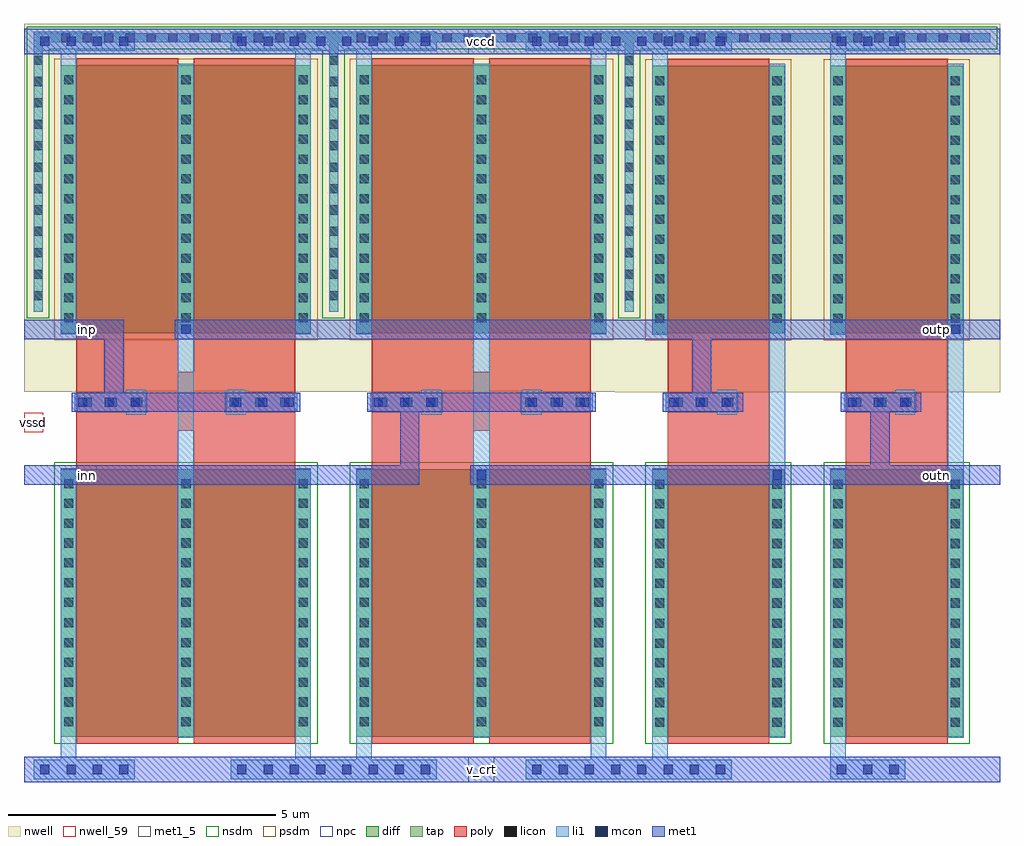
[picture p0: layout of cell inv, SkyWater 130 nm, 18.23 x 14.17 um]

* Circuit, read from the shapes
.subckt inv inn inp outn outp v_crt vccd vssd
XM1 outp inp v_crt vssd sky130_fd_pr__nfet_01v8 w=5 l=1.9 m=2
XM2 outn inn v_crt vssd sky130_fd_pr__nfet_01v8 w=5 l=1.9 m=2
XM3 outn outp v_crt vssd sky130_fd_pr__nfet_01v8 w=5 l=1.9
XM4 outp outn v_crt vssd sky130_fd_pr__nfet_01v8 w=5 l=1.9
XM5 outp inp vccd vccd sky130_fd_pr__pfet_01v8 w=5 l=1.9 m=2
XM6 outn inn vccd vccd sky130_fd_pr__pfet_01v8 w=5 l=1.9 m=2
XM7 outn outp vccd vccd sky130_fd_pr__pfet_01v8 w=5 l=1.9
XM8 outp outn vccd vccd sky130_fd_pr__pfet_01v8 w=5 l=1.9
.ends

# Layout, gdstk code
import gdstk
lib = gdstk.Library(unit=1e-6, precision=1e-09)
def R(c, l, rs):  # rectangles x0, y0, x1, y1
    for r in rs: c.add(gdstk.rectangle(r[:2], r[2:], *l))
def A(c, l, x, y, w, h, nx, ny, dx, dy):  # array of equal rectangles
    R(c, l, [(x+i*dx, y+j*dy, x+i*dx+w, y+j*dy+h) for i in range(nx) for j in range(ny)])
nwell = (64, 20)
nwell_59 = (64, 59)
diff = (65, 20)
tap = (65, 44)
poly = (66, 20)
licon = (66, 44)
li1 = (67, 20)
mcon = (67, 44)
met1_5 = (68, 5)
met1 = (68, 20)
nsdm = (93, 44)
psdm = (94, 20)
npc = (95, 20)

pfet_34 = lib.new_cell('pfet_34')
R(pfet_34, nwell, [(0,-0.01,3.86,6.87)])
R(pfet_34, diff, [(0.69,1.085,3.17,6.085)])
R(pfet_34, tap, [(0.18,6.52,3.68,6.69)])
R(pfet_34, poly, [(0.98,0.6,2.88,6.215)])
A(pfet_34, licon, 0.75, 1.28, 0.17, 0.17, 1, 13, 0, 0.37)
A(pfet_34, licon, 2.94, 1.28, 0.17, 0.17, 1, 13, 0, 0.37)
A(pfet_34, licon, 0.715, 6.52, 0.17, 0.17, 7, 1, 0.4, 0)
R(pfet_34, li1, [(0.69,1.06,0.98,6.52), (2.94,1.065,3.11,6.105), (0.18,6.52,3.68,6.69)])
R(pfet_34, nsdm, [(0.055,6.395,3.805,6.815)])
R(pfet_34, psdm, [(0.565,0.96,3.295,6.21)])

pfet_12 = lib.new_cell('pfet_12')
R(pfet_12, nwell, [(-0.98,-1.1,5.07,5.775)])
R(pfet_12, diff, [(-0.29,-0.005,4.38,4.995)])
R(pfet_12, tap, [(-0.8,0.395,-0.63,5.425), (4.72,0.395,4.89,5.425), (-0.8,5.425,4.89,5.595)])
R(pfet_12, poly, [(0,-0.49,1.9,5.125), (2.19,-0.49,4.09,5.125)])
A(pfet_12, licon, -0.23, 0.2, 0.17, 0.17, 3, 13, 2.19, 0.37)
A(pfet_12, licon, -0.8, 0.61, 0.17, 0.17, 1, 12, 0, 0.4)
A(pfet_12, licon, 4.72, 0.61, 0.17, 0.17, 1, 12, 0, 0.4)
A(pfet_12, licon, -0.285, 5.425, 0.17, 0.17, 12, 1, 0.4, 0)
R(pfet_12, li1, [(-0.29,-0.025,0,5.425), (1.96,-0.025,2.13,5.015), (4.09,-0.025,4.38,5.425), (-0.8,0.395,-0.63,5.425), (4.72,0.395,4.89,5.425), (-0.8,5.425,4.89,5.595)])
R(pfet_12, nsdm, [(-0.925,0.27,-0.505,5.3), (4.595,0.27,5.015,5.3), (-0.925,5.3,5.015,5.72)])
R(pfet_12, psdm, [(-0.415,-0.13,4.505,5.12)])

nfet_34 = lib.new_cell('nfet_34')
R(nfet_34, diff, [(-0.29,0,2.19,5)])
R(nfet_34, poly, [(0,-0.13,1.9,5.44)])
A(nfet_34, licon, -0.23, 0.185, 0.17, 0.17, 1, 6, 0, 0.37)
A(nfet_34, licon, 1.96, 0.185, 0.17, 0.17, 1, 6, 0, 0.37)
A(nfet_34, licon, -0.23, 2.415, 0.17, 0.17, 1, 7, 0, 0.37)
A(nfet_34, licon, 1.96, 2.415, 0.17, 0.17, 1, 7, 0, 0.37)
R(nfet_34, li1, [(-0.23,-0.02,-0.06,5.02), (1.96,-0.02,2.13,5.02)])
R(nfet_34, nsdm, [(-0.415,-0.125,2.315,5.125)])

nfet_12 = lib.new_cell('nfet_12')
R(nfet_12, diff, [(0,0,4.67,5)])
R(nfet_12, poly, [(0.29,-0.13,2.19,5.44), (2.48,-0.13,4.38,5.44)])
A(nfet_12, licon, 0.06, 0.195, 0.17, 0.17, 3, 6, 2.19, 0.37)
A(nfet_12, licon, 0.06, 2.425, 0.17, 0.17, 3, 7, 2.19, 0.37)
A(nfet_12, li1, 0.05, -0.02, 0.19, 5.04, 3, 1, 2.19, 0)
R(nfet_12, nsdm, [(-0.125,-0.125,4.795,5.125)])

inv = lib.new_cell('inv')
R(inv, nwell_59, [(-2,16.54,-1.64,16.9)])
R(inv, poly, [(-1.02,16.23,0.88,16.57), (1.17,16.23,3.07,16.57), (4.5,16.23,6.4,16.57), (6.69,16.23,8.59,16.57), (10.02,16.29,11.92,17.91), (13.35,16.29,15.25,17.91), (-1.02,16.57,3.07,17.67), (4.5,16.57,8.59,17.67), (-1.02,17.67,0.88,18), (1.17,17.67,3.07,18), (4.5,17.67,6.4,18), (6.69,17.67,8.59,18)])
A(inv, licon, -0.905, 17.015, 0.17, 0.17, 3, 1, 0.47, 0)
A(inv, licon, 1.845, 17.015, 0.17, 0.17, 3, 1, 0.47, 0)
A(inv, licon, 4.615, 17.015, 0.17, 0.17, 3, 1, 0.47, 0)
A(inv, licon, 7.365, 17.015, 0.17, 0.17, 3, 1, 0.47, 0)
A(inv, licon, 10.135, 17.015, 0.17, 0.17, 3, 1, 0.47, 0)
A(inv, licon, 13.465, 17.015, 0.17, 0.17, 3, 1, 0.47, 0)
R(inv, li1, [(-1.82,10.06,0.07,10.42), (1.86,10.06,5.71,10.42), (7.37,10.06,11.22,10.42), (13.06,10.06,14.46,10.42), (-1.31,10.42,-1.02,15.87), (3.07,10.42,3.36,15.87), (4.21,10.42,4.5,15.87), (8.59,10.42,8.88,15.87), (9.73,10.42,10.02,15.87), (13.06,10.42,13.35,15.87), (0.875,10.83,1.175,23.42), (6.395,10.83,6.695,23.42), (11.92,10.83,12.22,23.42), (15.25,10.83,15.55,23.42), (-0.1,16.87,0.28,16.92), (1.77,16.87,2.15,16.92), (5.42,16.87,5.8,16.92), (7.29,16.87,7.67,16.92), (10.94,16.87,11.32,16.92), (14.27,16.87,14.65,16.92), (-1.05,16.92,0.28,17.28), (1.77,16.92,3.1,17.28), (4.47,16.92,5.8,17.28), (7.29,16.92,8.62,17.28), (9.99,16.92,11.32,17.28), (13.32,16.92,14.65,17.28), (-0.1,17.28,0.28,17.33), (1.77,17.28,2.15,17.33), (5.42,17.28,5.8,17.33), (7.29,17.28,7.67,17.33), (10.94,17.28,11.32,17.33), (14.27,17.28,14.65,17.33), (-1.82,23.66,0.07,24.02), (1.86,23.66,5.71,24.02), (7.37,23.66,11.22,24.02), (13.06,23.66,14.46,24.02)])
A(inv, mcon, -1.695, 10.155, 0.17, 0.17, 4, 2, 0.49, 13.6)
A(inv, mcon, 1.985, 10.155, 0.17, 0.17, 8, 2, 0.49, 13.6)
A(inv, mcon, 7.495, 10.155, 0.17, 0.17, 8, 2, 0.49, 13.6)
A(inv, mcon, 13.185, 10.155, 0.17, 0.17, 3, 2, 0.49, 13.6)
A(inv, mcon, -0.985, 17.015, 0.17, 0.17, 3, 1, 0.49, 0)
A(inv, mcon, 1.885, 17.015, 0.17, 0.17, 3, 1, 0.49, 0)
A(inv, mcon, 4.535, 17.015, 0.17, 0.17, 3, 1, 0.49, 0)
A(inv, mcon, 7.405, 17.015, 0.17, 0.17, 3, 1, 0.49, 0)
A(inv, mcon, 10.055, 17.015, 0.17, 0.17, 3, 1, 0.49, 0)
A(inv, mcon, 13.385, 17.015, 0.17, 0.17, 3, 1, 0.49, 0)
R(inv, mcon, [(6.46,15.655,6.63,15.825), (11.985,15.655,12.155,15.825), (0.94,18.375,1.11,18.545), (15.315,18.375,15.485,18.545)])
R(inv, met1_5, [(6.3,10,6.78,10.48), (-1,15.56,-0.64,15.92), (14.87,15.56,15.23,15.92), (-1,18.28,-0.64,18.64), (14.87,18.28,15.23,18.64), (6.3,23.6,6.78,24.08)])
R(inv, met1, [(-2,10,16.23,10.48), (-2,15.56,5.385,15.92), (6.335,15.56,16.23,15.92), (5.025,15.92,5.385,16.92), (13.81,15.92,14.17,16.92), (-1.11,16.92,3.16,17.28), (4.41,16.92,8.68,17.28), (9.93,16.92,11.43,17.28), (13.26,16.92,14.76,17.28), (-0.5,17.28,-0.14,18.28), (10.48,17.28,10.84,18.28), (-2,18.28,-0.14,18.64), (0.815,18.28,16.23,18.64), (-2,23.6,16.23,24.08)])
R(inv, npc, [(-1.005,16.915,0.305,17.285), (1.745,16.915,3.055,17.285), (4.515,16.915,5.825,17.285), (7.265,16.915,8.575,17.285), (10.035,16.915,11.345,17.285), (13.365,16.915,14.675,17.285)])
inv.add(gdstk.Reference(pfet_34, (12.37,17.3)))
inv.add(gdstk.Reference(pfet_34, (9.04,17.3)))
inv.add(gdstk.Reference(pfet_12, (4.5,18.395)))
inv.add(gdstk.Reference(pfet_12, (-1.02,18.395)))
inv.add(gdstk.Reference(nfet_34, (13.35,10.85)))
inv.add(gdstk.Reference(nfet_34, (10.02,10.85)))
inv.add(gdstk.Reference(nfet_12, (4.21,10.85)))
inv.add(gdstk.Reference(nfet_12, (-1.31,10.85)))
inv.add(gdstk.Label('vccd', (6.54,23.84), layer=68, texttype=5))
inv.add(gdstk.Label('v_crt', (6.54,10.24), layer=68, texttype=5))
inv.add(gdstk.Label('inn', (-0.82,15.74), layer=68, texttype=5))
inv.add(gdstk.Label('inp', (-0.82,18.46), layer=68, texttype=5))
inv.add(gdstk.Label('outp', (15.05,18.46), layer=68, texttype=5))
inv.add(gdstk.Label('outn', (15.05,15.74), layer=68, texttype=5))
inv.add(gdstk.Label('vssd', (-1.82,16.72), layer=64, texttype=59))

lib.write_gds('inv.gds')
